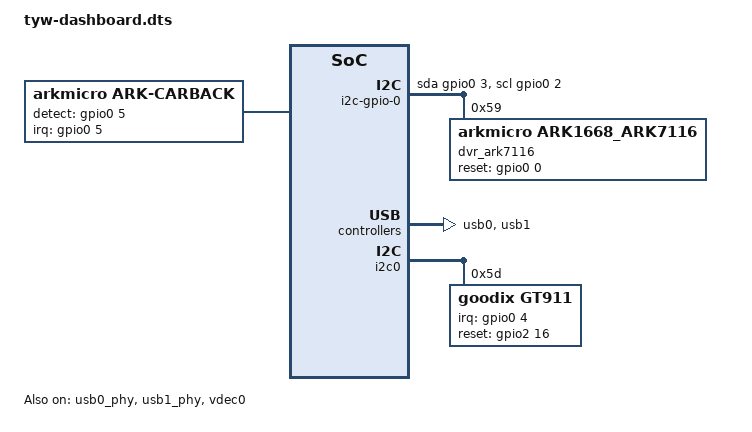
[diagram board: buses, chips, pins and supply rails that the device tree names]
// SPDX-License-Identifier: GPL-2.0
/dts-v1/;
#include "tyw-dashboard.dtsi"
#include "ark1668-pinctrl.dtsi"
#include <dt-bindings/gpio/gpio.h>

/ {
    carback: carback@0 {
        compatible = "arkmicro,ark-carback";
        interrupt-parent = <&gpio0>;
        interrupts = <5 IRQ_TYPE_EDGE_BOTH>;
        detect-gpios = <&gpio0 5 GPIO_ACTIVE_HIGH>;
        debounce-detect = <20>;
		//status = "disabled";
    };

	mcu_serial: mcu-serial@0 {
		compatible = "arkmicro,ark-mcu-serial";
	};
	
	tool_serial: tool-serial@0 {
		compatible = "arkmicro,ark-tool-serial";
	};
	
	i2c-gpio-0 {
		#address-cells = <1>;
		#size-cells = <0>;
		compatible = "i2c-gpio";
		gpios = <&gpio0 3 0		/* SDA */
			&gpio0 2 0		/* SCL */
		>;
		i2c-gpio,delay-us = <6>;	/* clk freq = 500/delay KHz */
		i2c-gpio,scl-output-only;
		//i2c-gpio,sda-open-drain;
		//i2c-gpio,scl-open-drain;

		dvr_ark7116: dvr_ark7116@B2 {
			compatible = "arkmicro,ark1668_ark7116";
			reset-gpio = <&gpio0 0 0>;
			reg = <0x59>; /* i2c address(7 bits) */
			//default-channel = <0>;
			carback-config = <1>;
			/*port{
                        ark7116: endpoint@0{
                                remote-endpoint = <&ark656>;
                                };
                        };*/

		};
	};
};

&usb0_phy {
    compatible = "usb-nop-xceiv";
    #phy-cells = <0>;
    status = "okay";
};

&usb1_phy {
    compatible = "usb-nop-xceiv";
    #phy-cells = <0>;
    status = "okay";
};

&usb0 {
     status = "okay";
};

&usb1 {
     status = "okay";
};

&uart0 {
	use-in-kernel;
	use-for-tool;
};

&uart3 {
	use-in-kernel;
	use-for-mcu;
};

&lcdc {
	display = <&display0>;
	pinctrl-names = "default";
	pinctrl-0 = <&pinctrl_lcd_base &pinctrl_lcd_lvds>;
	         /* video osd1 osd2 osd3 video2 */
	lcd-priority = <0	3	2	4	1>;

	display0: display@0 {
		interface-type = "LVDS";
		lvds-con = <0x160fd>;
		bits-per-pixel = <32>;
		power-control-gpio = <&gpio2 17 GPIO_ACTIVE_HIGH>;
		lcd-wiring-mode = "BGR";
		lcdcon-backlight;
		pwms = <&pwm0 1 50000>;
		pwm-names = "backlight";
		backlight-value = <20>;
		backlight-delay = <200>;
		//dithering-con = <0x408000>;
		osd1-vp = <0x00408080>;

		display-timings {
			native-mode = <&timing0>;
			timing0: timing0 {
				clock-frequency = <46000000>;
				hactive = <1280>;
				vactive = <480>;
				hback-porch = <70>;
				hfront-porch = <70>;
				vback-porch = <20>;
				vfront-porch = <20>;
				hsync-len = <20>;
				vsync-len = <13>;
				hsync-active = <1>;
				vsync-active = <1>;
				de-active = <0>;
				pixelclk-active = <0>;
			};
		};
	};
};

&vdec0 {
     status = "okay";
};

&i2c0 {
	gt911: touchscreen@5d {
		compatible = "goodix,gt911";
		reg = <0x5d>;
		interrupt-parent = <&gpio0>;
		interrupts = <4 IRQ_TYPE_EDGE_FALLING>;
		irq-gpios = <&gpio0 4 GPIO_ACTIVE_HIGH>;
		reset-gpios = <&gpio2 16 GPIO_ACTIVE_HIGH>;
		touchscreen-inverted-x;
	};
};
